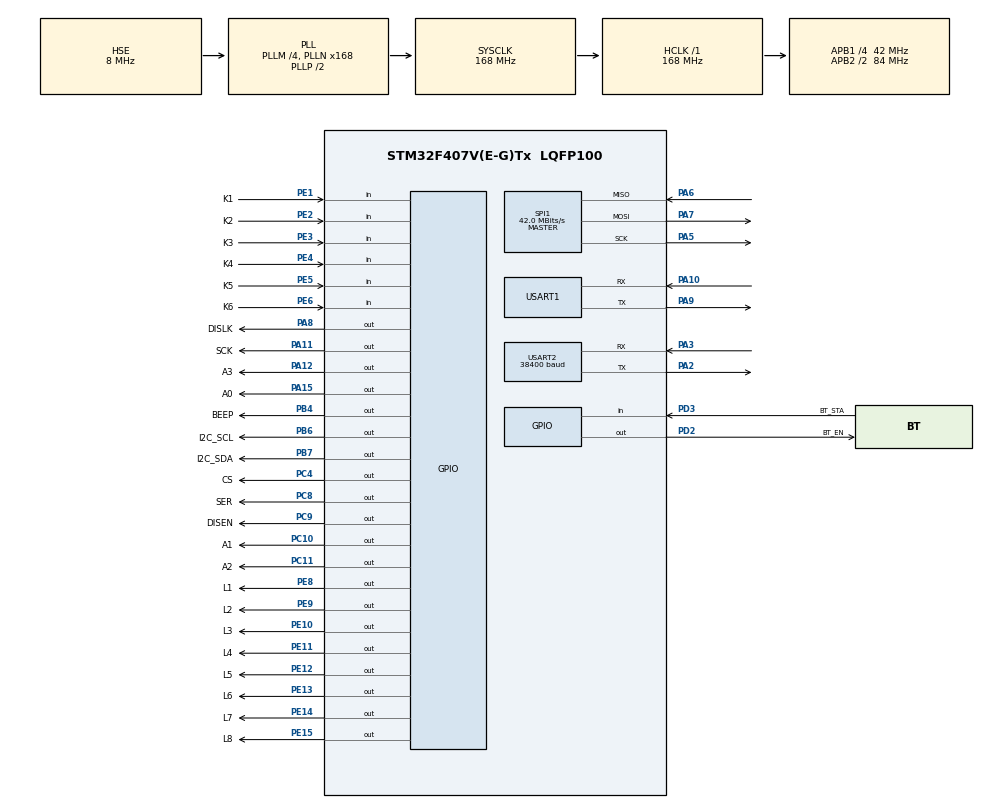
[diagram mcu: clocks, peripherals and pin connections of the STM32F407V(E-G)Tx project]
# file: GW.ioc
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Dma.Request0=USART1_RX
Dma.Request1=USART2_RX
Dma.Request2=USART2_TX
Dma.USART1_RX.0.Direction=DMA_PERIPH_TO_MEMORY
Dma.USART1_RX.0.FIFOMode=DMA_FIFOMODE_DISABLE
Dma.USART1_RX.0.Instance=DMA2_Stream2
Dma.USART1_RX.0.MemDataAlignment=DMA_MDATAALIGN_BYTE
Dma.USART1_RX.0.MemInc=DMA_MINC_ENABLE
Dma.USART1_RX.0.Mode=DMA_NORMAL
Dma.USART1_RX.0.PeriphDataAlignment=DMA_PDATAALIGN_BYTE
Dma.USART1_RX.0.PeriphInc=DMA_PINC_DISABLE
Dma.USART1_RX.0.Priority=DMA_PRIORITY_LOW
Dma.USART2_RX.1.Direction=DMA_PERIPH_TO_MEMORY
Dma.USART2_RX.1.FIFOMode=DMA_FIFOMODE_DISABLE
Dma.USART2_RX.1.Instance=DMA1_Stream5
Dma.USART2_RX.1.MemDataAlignment=DMA_MDATAALIGN_BYTE
Dma.USART2_RX.1.MemInc=DMA_MINC_ENABLE
Dma.USART2_RX.1.Mode=DMA_NORMAL
Dma.USART2_RX.1.PeriphDataAlignment=DMA_PDATAALIGN_BYTE
Dma.USART2_RX.1.PeriphInc=DMA_PINC_DISABLE
Dma.USART2_RX.1.Priority=DMA_PRIORITY_LOW
Dma.USART2_TX.2.Direction=DMA_MEMORY_TO_PERIPH
Dma.USART2_TX.2.FIFOMode=DMA_FIFOMODE_DISABLE
Dma.USART2_TX.2.Instance=DMA1_Stream6
Dma.USART2_TX.2.MemDataAlignment=DMA_MDATAALIGN_BYTE
Dma.USART2_TX.2.MemInc=DMA_MINC_ENABLE
Dma.USART2_TX.2.Mode=DMA_NORMAL
Dma.USART2_TX.2.PeriphDataAlignment=DMA_PDATAALIGN_BYTE
Dma.USART2_TX.2.PeriphInc=DMA_PINC_DISABLE
Dma.USART2_TX.2.Priority=DMA_PRIORITY_LOW
FREERTOS.Queues01=QueueUart2,8,512,1,Dynamic,NULL,NULL;QueueUart1,8,512,1,Dynamic,NULL,NULL
FREERTOS.Tasks01=Task_LED,24,128,StartTaskLed,Default,NULL,Dynamic,NULL,NULL;Task_Usart,8,512,StartTaskUsart,Default,NULL,Dynamic,NULL,NULL;Task_Key,8,128,StartTaskKey,Default,NULL,Dynamic,NULL,NULL;Task_Seg,8,128,StartTaskSeg,Default,NULL,Dynamic,NULL,NULL;Task_Main,8,128,StartTaskMain,Default,NULL,Dynamic,NULL,NULL;Task_MPU6050,8,128,StartTaskMPU6050,Default,NULL,Dynamic,NULL,NULL
FREERTOS.configTOTAL_HEAP_SIZE=32768
Mcu.Family=STM32F4
Mcu.Name=STM32F407V(E-G)Tx
Mcu.Package=LQFP100
NVIC.DMA1_Stream5_IRQn=true\:5\:0\:false\:false\:true\:true\:false\:true
NVIC.DMA1_Stream6_IRQn=true\:5\:0\:false\:false\:true\:true\:false\:true
NVIC.DMA2_Stream2_IRQn=true\:5\:0\:false\:false\:true\:true\:false\:true
NVIC.PriorityGroup=NVIC_PRIORITYGROUP_4
NVIC.TIM1_BRK_TIM9_IRQn=true\:0\:0\:false\:false\:true\:false\:false\:true
NVIC.TIM4_IRQn=true\:5\:0\:false\:false\:true\:true\:true\:true
NVIC.TimeBase=TIM1_BRK_TIM9_IRQn
NVIC.TimeBaseIP=TIM9
NVIC.USART1_IRQn=true\:5\:0\:false\:false\:true\:true\:true\:true
NVIC.USART2_IRQn=true\:5\:0\:false\:false\:true\:true\:true\:true
PA10.Mode=Asynchronous
PA10.Signal=USART1_RX
PA11.GPIO_Label=SCK
PA11.Signal=GPIO_Output
PA12.GPIO_Label=A3
PA12.Signal=GPIO_Output
PA13.Mode=Serial_Wire
PA13.Signal=SYS_JTMS-SWDIO
PA14.Mode=Serial_Wire
PA14.Signal=SYS_JTCK-SWCLK
PA15.GPIO_Label=A0
PA15.Signal=GPIO_Output
PA2.Mode=Asynchronous
PA2.Signal=USART2_TX
PA3.Mode=Asynchronous
PA3.Signal=USART2_RX
PA5.Mode=Full_Duplex_Master
PA5.Signal=SPI1_SCK
PA6.Mode=Full_Duplex_Master
PA6.Signal=SPI1_MISO
PA7.Mode=Full_Duplex_Master
PA7.Signal=SPI1_MOSI
PA8.GPIO_Label=DISLK
PA8.Signal=GPIO_Output
PA9.Mode=Asynchronous
PA9.Signal=USART1_TX
PB4.GPIO_Label=BEEP
PB4.Signal=GPIO_Output
PB6.GPIO_Label=I2C_SCL
PB6.GPIO_ModeDefaultOutputPP=GPIO_MODE_OUTPUT_OD
PB6.GPIO_PuPd=GPIO_NOPULL
PB6.Signal=GPIO_Output
PB7.GPIO_Label=I2C_SDA
PB7.GPIO_ModeDefaultOutputPP=GPIO_MODE_OUTPUT_OD
PB7.GPIO_PuPd=GPIO_NOPULL
PB7.Signal=GPIO_Output
PC10.GPIO_Label=A1
PC10.Signal=GPIO_Output
PC11.GPIO_Label=A2
PC11.Signal=GPIO_Output
PC14-OSC32_IN.Mode=LSE-External-Oscillator
PC14-OSC32_IN.Signal=RCC_OSC32_IN
PC15-OSC32_OUT.Mode=LSE-External-Oscillator
PC15-OSC32_OUT.Signal=RCC_OSC32_OUT
PC4.GPIO_Label=CS
PC4.Signal=GPIO_Output
PC8.GPIO_Label=SER
PC8.Signal=GPIO_Output
PC9.GPIO_Label=DISEN
PC9.Signal=GPIO_Output
PD2.GPIO_Label=BT_EN
PD2.Signal=GPIO_Output
PD3.GPIO_Label=BT_STA
PD3.Signal=GPIO_Input
PE1.GPIO_Label=K1
PE1.GPIO_Mode=GPIO_MODE_INPUT
PE1.GPIO_PuPd=GPIO_PULLUP
PE1.Signal=GPIO_Input
PE10.GPIO_Label=L3
PE10.GPIO_ModeDefaultOutputPP=GPIO_MODE_OUTPUT_PP
PE10.GPIO_PuPd=GPIO_NOPULL
PE10.GPIO_Speed=GPIO_SPEED_FREQ_LOW
PE10.PinState=GPIO_PIN_SET
PE10.Signal=GPIO_Output
PE11.GPIO_Label=L4
PE11.GPIO_ModeDefaultOutputPP=GPIO_MODE_OUTPUT_PP
PE11.GPIO_PuPd=GPIO_NOPULL
PE11.GPIO_Speed=GPIO_SPEED_FREQ_LOW
PE11.PinState=GPIO_PIN_SET
PE11.Signal=GPIO_Output
PE12.GPIO_Label=L5
PE12.GPIO_ModeDefaultOutputPP=GPIO_MODE_OUTPUT_PP
PE12.GPIO_PuPd=GPIO_NOPULL
PE12.GPIO_Speed=GPIO_SPEED_FREQ_LOW
PE12.PinState=GPIO_PIN_SET
PE12.Signal=GPIO_Output
PE13.GPIO_Label=L6
PE13.GPIO_ModeDefaultOutputPP=GPIO_MODE_OUTPUT_PP
PE13.GPIO_PuPd=GPIO_NOPULL
PE13.GPIO_Speed=GPIO_SPEED_FREQ_LOW
PE13.PinState=GPIO_PIN_SET
PE13.Signal=GPIO_Output
PE14.GPIO_Label=L7
PE14.GPIO_ModeDefaultOutputPP=GPIO_MODE_OUTPUT_PP
PE14.GPIO_PuPd=GPIO_NOPULL
PE14.GPIO_Speed=GPIO_SPEED_FREQ_LOW
PE14.PinState=GPIO_PIN_SET
PE14.Signal=GPIO_Output
PE15.GPIO_Label=L8
PE15.GPIO_ModeDefaultOutputPP=GPIO_MODE_OUTPUT_PP
PE15.GPIO_PuPd=GPIO_NOPULL
PE15.GPIO_Speed=GPIO_SPEED_FREQ_LOW
PE15.PinState=GPIO_PIN_SET
PE15.Signal=GPIO_Output
PE2.GPIO_Label=K2
PE2.GPIO_Mode=GPIO_MODE_INPUT
PE2.GPIO_PuPd=GPIO_PULLUP
PE2.Signal=GPIO_Input
PE3.GPIO_Label=K3
PE3.GPIO_Mode=GPIO_MODE_INPUT
PE3.GPIO_PuPd=GPIO_PULLUP
PE3.Signal=GPIO_Input
PE4.GPIO_Label=K4
PE4.GPIO_Mode=GPIO_MODE_INPUT
PE4.GPIO_PuPd=GPIO_PULLUP
PE4.Signal=GPIO_Input
PE5.GPIO_Label=K5
PE5.GPIO_Mode=GPIO_MODE_INPUT
PE5.GPIO_PuPd=GPIO_PULLDOWN
PE5.Signal=GPIO_Input
PE6.GPIO_Label=K6
PE6.GPIO_Mode=GPIO_MODE_INPUT
PE6.GPIO_PuPd=GPIO_PULLDOWN
PE6.Signal=GPIO_Input
PE8.GPIO_Label=L1
PE8.GPIO_ModeDefaultOutputPP=GPIO_MODE_OUTPUT_PP
PE8.GPIO_PuPd=GPIO_NOPULL
PE8.GPIO_Speed=GPIO_SPEED_FREQ_LOW
PE8.PinState=GPIO_PIN_SET
PE8.Signal=GPIO_Output
PE9.GPIO_Label=L2
PE9.GPIO_ModeDefaultOutputPP=GPIO_MODE_OUTPUT_PP
PE9.GPIO_PuPd=GPIO_NOPULL
PE9.GPIO_Speed=GPIO_SPEED_FREQ_LOW
PE9.PinState=GPIO_PIN_SET
PE9.Signal=GPIO_Output
PH0-OSC_IN.Mode=HSE-External-Oscillator
PH0-OSC_IN.Signal=RCC_OSC_IN
PH1-OSC_OUT.Mode=HSE-External-Oscillator
PH1-OSC_OUT.Signal=RCC_OSC_OUT
ProjectManager.HeapSize=0x4000
ProjectManager.StackSize=0x4000
ProjectManager.TargetToolchain=MDK-ARM V5.27
RCC.48MHZClocksFreq_Value=84000000
RCC.AHBFreq_Value=168000000
RCC.APB1CLKDivider=RCC_HCLK_DIV4
RCC.APB1Freq_Value=42000000
RCC.APB1TimFreq_Value=84000000
RCC.APB2CLKDivider=RCC_HCLK_DIV2
RCC.APB2Freq_Value=84000000
RCC.APB2TimFreq_Value=168000000
RCC.CortexFreq_Value=168000000
RCC.HCLKFreq_Value=168000000
RCC.HSE_VALUE=8000000
RCC.HSI_VALUE=16000000
RCC.PLLM=4
RCC.PLLN=168
RCC.PLLSourceVirtual=RCC_PLLSOURCE_HSE
RCC.RCC_RTC_Clock_Source=RCC_RTCCLKSOURCE_LSE
RCC.RCC_RTC_Clock_SourceVirtual=RCC_RTCCLKSOURCE_LSE
RCC.SYSCLKFreq_VALUE=168000000
RCC.SYSCLKSource=RCC_SYSCLKSOURCE_PLLCLK
RCC.VCOOutputFreq_Value=336000000
RTC.Alarm=RTC_ALARM_A
SPI1.CalculateBaudRate=42.0 MBits/s
SPI1.Direction=SPI_DIRECTION_2LINES
SPI1.Mode=SPI_MODE_MASTER
SPI1.VirtualType=VM_MASTER
TIM4.AutoReloadPreload=TIM_AUTORELOAD_PRELOAD_ENABLE
TIM4.Period=10000
TIM4.Prescaler=84-1
USART1.VirtualMode=VM_ASYNC
USART2.BaudRate=38400
USART2.VirtualMode=VM_ASYNC
VP_FREERTOS_VS_CMSIS_V2.Mode=CMSIS_V2
VP_RTC_VS_RTC_Activate.Mode=RTC_Enabled
VP_RTC_VS_RTC_Alarm_A_Intern.Mode=Alarm A
VP_RTC_VS_RTC_Calendar.Mode=RTC_Calendar
VP_RTC_VS_RTC_WakeUp_intern.Mode=WakeUp
VP_SYS_VS_tim9.Mode=TIM9
VP_TIM4_VS_ClockSourceINT.Mode=Internal
board=custom

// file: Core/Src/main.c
/* USER CODE BEGIN Header */
/**
  ******************************************************************************
  * @file           : main.c
  * @brief          : Main program body
  ******************************************************************************
  * @attention
  *
  * <h2><center>&copy; Copyright (c) 2021 STMicroelectronics.
  * All rights reserved.</center></h2>
  *
  * This software component is licensed by ST under Ultimate Liberty license
  * SLA0044, the "License"; You may not use this file except in compliance with
  * the License. You may obtain a copy of the License at:
  *                             www.st.com/SLA0044
  *
  ******************************************************************************
  */
/* USER CODE END Header */
#include "main.h"
#include "cmsis_os.h"
#include "dma.h"
#include "rtc.h"
#include "spi.h"
#include "tim.h"
#include "usart.h"
#include "gpio.h"

/* USER CODE BEGIN Includes */
#include <stdio.h>
#include <stdlib.h>
#include <string.h>
#include "w25qxx.h"
/* USER CODE END Includes */

/* USER CODE BEGIN PV */

uint8_t count_10ms = 0;
uint8_t up_flag = 0;
/* USER CODE END PV */

void SystemClock_Config(void);
void MX_FREERTOS_Init(void);

/* USER CODE BEGIN 0 */
void TestW25Q128(void)
{
	uint8_t dat[4096] = "1234567890-1234567890-1234567890-1234567890-1234567890-\0";
	uint8_t read_buf[4096] = {0};
	uint16_t i;
	uint16_t *pDat = (uint16_t *)dat;
	for(i=0;i<sizeof(dat)/2;++i)
	{
		pDat[i] = i*i;
	}

	W25QXX_Init();
	uint16_t device_id = W25QXX_ReadID();
	printf("device_id = 0x%04X\n\r",device_id);

	HAL_Delay(500);

	int j=0;
	uint32_t addr = 0;
	for(j=0;j<1;j++)
	{
		addr = 0x1000 * j;
		// 读扇区
		printf("Read data before write\n\r");
		memset(read_buf,0,sizeof(read_buf));
		W25QXX_Read(read_buf,addr,sizeof(read_buf));
		printf("read data if:\n\r");
		for(i=0;i<sizeof(read_buf);++i)
		{
			printf("%02X ",read_buf[i]);
		}
		printf("\n\r");
		HAL_Delay(20);

		//撤除该扇区
		printf("Erase sector %d\n\r",addr / 0x1000);
		W25QXX_Erase_Sector(addr);
		HAL_Delay(20);

		//写数据
		printf("Write data\n\r");
		W25QXX_Write(dat,addr,sizeof(dat));
		HAL_Delay(20);

		//再次读数据
		printf("Read data after write\n\r");
		memset(read_buf,0,sizeof(dat));
		W25QXX_Read(read_buf,addr,sizeof(read_buf));
		printf("read data is:\n\r");
		for(i=0;i<sizeof(read_buf);++i)
		{
			printf("%02X ",read_buf[i]);
		}
		printf("\n\r");
		HAL_Delay(20);

		uint8_t chkok = 1;
		for(i=0;i<sizeof(dat);++i)
		{
			if(dat[i] != read_buf[i])
			{
				chkok = 0;
				break;
			}
		}
		printf("sector %d write %s!\n\r", addr/0x1000,chkok?"ok":"error");
		if(!chkok)
			break;
	}
}
/* USER CODE END 0 */

int main(void)
{

  /* MCU Configuration--------------------------------------------------------*/

  /* Reset of all peripherals, Initializes the Flash interface and the Systick. */
  HAL_Init();

  /* Configure the system clock */
  SystemClock_Config();

  /* Initialize all configured peripherals */
  MX_GPIO_Init();
  MX_DMA_Init();
  MX_USART1_UART_Init();
  MX_SPI1_Init();
  MX_TIM4_Init();
  MX_RTC_Init();
  MX_USART2_UART_Init();
  /* USER CODE BEGIN 2 */
//	HAL_Delay(1000);
//	TestW25Q128();

  /* USER CODE END 2 */

  /* Init scheduler */
  osKernelInitialize();  /* Call init function for freertos objects (in freertos.c) */
  MX_FREERTOS_Init();
  /* Start scheduler */
  osKernelStart();

  /* We should never get here as control is now taken by the scheduler */
  /* Infinite loop */
  while (1)
  {

  }
}

void SystemClock_Config(void)
{
  RCC_OscInitTypeDef RCC_OscInitStruct = {0};
  RCC_ClkInitTypeDef RCC_ClkInitStruct = {0};

  /** Configure the main internal regulator output voltage
  */
  __HAL_RCC_PWR_CLK_ENABLE();
  __HAL_PWR_VOLTAGESCALING_CONFIG(PWR_REGULATOR_VOLTAGE_SCALE1);
  /** Initializes the RCC Oscillators according to the specified parameters
  * in the RCC_OscInitTypeDef structure.
  */
  RCC_OscInitStruct.OscillatorType = RCC_OSCILLATORTYPE_HSE|RCC_OSCILLATORTYPE_LSE;
  RCC_OscInitStruct.HSEState = RCC_HSE_ON;
  RCC_OscInitStruct.LSEState = RCC_LSE_ON;
  RCC_OscInitStruct.PLL.PLLState = RCC_PLL_ON;
  RCC_OscInitStruct.PLL.PLLSource = RCC_PLLSOURCE_HSE;
  RCC_OscInitStruct.PLL.PLLM = 4;
  RCC_OscInitStruct.PLL.PLLN = 168;
  RCC_OscInitStruct.PLL.PLLP = RCC_PLLP_DIV2;
  RCC_OscInitStruct.PLL.PLLQ = 4;
  if (HAL_RCC_OscConfig(&RCC_OscInitStruct) != HAL_OK)
  {
    Error_Handler();
  }
  /** Initializes the CPU, AHB and APB buses clocks
  */
  RCC_ClkInitStruct.ClockType = RCC_CLOCKTYPE_HCLK|RCC_CLOCKTYPE_SYSCLK
                              |RCC_CLOCKTYPE_PCLK1|RCC_CLOCKTYPE_PCLK2;
  RCC_ClkInitStruct.SYSCLKSource = RCC_SYSCLKSOURCE_PLLCLK;
  RCC_ClkInitStruct.AHBCLKDivider = RCC_SYSCLK_DIV1;
  RCC_ClkInitStruct.APB1CLKDivider = RCC_HCLK_DIV4;
  RCC_ClkInitStruct.APB2CLKDivider = RCC_HCLK_DIV2;

  if (HAL_RCC_ClockConfig(&RCC_ClkInitStruct, FLASH_LATENCY_5) != HAL_OK)
  {
    Error_Handler();
  }
}

void HAL_TIM_PeriodElapsedCallback(TIM_HandleTypeDef *htim)
{
  if (htim->Instance == TIM9) {
    HAL_IncTick();
  }
  /* USER CODE BEGIN Callback 1 */
	if(htim->Instance == TIM4)
	{
		count_10ms++;
		if(count_10ms == 100)
		{
			up_flag = 1;
			count_10ms = 0;
		}
		else	up_flag = 0;
	}
  /* USER CODE END Callback 1 */
}

void Error_Handler(void)
{
  __disable_irq();
  while (1)
  {
  }
}

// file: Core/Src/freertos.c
/* USER CODE BEGIN Header */
/**
  ******************************************************************************
  * File Name          : freertos.c
  * Description        : Code for freertos applications
  ******************************************************************************
  * @attention
  *
  * <h2><center>&copy; Copyright (c) 2021 STMicroelectronics.
  * All rights reserved.</center></h2>
  *
  * This software component is licensed by ST under Ultimate Liberty license
  * SLA0044, the "License"; You may not use this file except in compliance with
  * the License. You may obtain a copy of the License at:
  *                             www.st.com/SLA0044
  *
  ******************************************************************************
  */
/* USER CODE END Header */

#include "FreeRTOS.h"
#include "task.h"
#include "main.h"
#include "cmsis_os.h"

/* USER CODE BEGIN Includes */
#include "gpio.h"
#include "usart.h "
#include "tim.h"
#include "rtc.h"
#include "w25qxx.h"

#include "stdio.h "
#include "string.h"

#include "MPU6050.h"
#include "math.h"
/* USER CODE END Includes */

/* USER CODE BEGIN Variables */
uint8_t led_run = 1;
uint8_t led_sp = 5;
uint8_t seg[4] = {0};

#define MAX_RECV_LEN 128
uint8_t rx1_buff[MAX_RECV_LEN] = {0};
uint8_t *pBuf;
uint8_t line_flag = 0;
uint32_t recv_tick = 0;

extern uint8_t count_10ms;
extern uint8_t up_flag;

uint8_t start_count_flag = 0;
uint8_t run_flag = 0xFF;
uint8_t show_flag = 0;
uint8_t save_flag = 0;
uint8_t read_flag = 0;
uint8_t read_ad_flag = 0;
uint8_t BT_ok = 0;
uint8_t ad_rec_flag = 0;

short count_sec = 0;
short count_min = 0;
short g_number = 0;
short ad_number = 0;

#define MX_SAVE_DATA	100*10+2 + 500 + 6*5400   //最多采集6分钟，不然超出flash范围
short flash_data[MX_SAVE_DATA] = {0};
short ad_data[6] = {0};
short Amax[720] = {-1};

short max_data_gx=0;
short max_data_gy=0;
short max_data_gz=0;
short max_data[100] = {0};
short Amax_data_x = 0;
short Amax_data_y = 0;
short Amax_data_z = 0;
short time[100] = {0};

uint8_t rx1_buf[128];  // 串口1接收缓冲
uint8_t rx2_buf[512];  // 串口2接收缓冲

/* USER CODE END Variables */
/* Definitions for Task_LED */
osThreadId_t Task_LEDHandle;
const osThreadAttr_t Task_LED_attributes = {
  .name = "Task_LED",
  .stack_size = 128 * 4,
  .priority = (osPriority_t) osPriorityNormal,
};
/* Definitions for Task_Usart */
osThreadId_t Task_UsartHandle;
const osThreadAttr_t Task_Usart_attributes = {
  .name = "Task_Usart",
  .stack_size = 512 * 4,
  .priority = (osPriority_t) osPriorityLow,
};
/* Definitions for Task_Key */
osThreadId_t Task_KeyHandle;
const osThreadAttr_t Task_Key_attributes = {
  .name = "Task_Key",
  .stack_size = 128 * 4,
  .priority = (osPriority_t) osPriorityLow,
};
/* Definitions for Task_Seg */
osThreadId_t Task_SegHandle;
const osThreadAttr_t Task_Seg_attributes = {
  .name = "Task_Seg",
  .stack_size = 128 * 4,
  .priority = (osPriority_t) osPriorityLow,
};
/* Definitions for Task_Main */
osThreadId_t Task_MainHandle;
const osThreadAttr_t Task_Main_attributes = {
  .name = "Task_Main",
  .stack_size = 128 * 4,
  .priority = (osPriority_t) osPriorityLow,
};
/* Definitions for Task_MPU6050 */
osThreadId_t Task_MPU6050Handle;
const osThreadAttr_t Task_MPU6050_attributes = {
  .name = "Task_MPU6050",
  .stack_size = 128 * 4,
  .priority = (osPriority_t) osPriorityLow,
};
/* Definitions for QueueUart2 */
osMessageQueueId_t QueueUart2Handle;
const osMessageQueueAttr_t QueueUart2_attributes = {
  .name = "QueueUart2"
};
/* Definitions for QueueUart1 */
osMessageQueueId_t QueueUart1Handle;
const osMessageQueueAttr_t QueueUart1_attributes = {
  .name = "QueueUart1"
};

void StartTaskLed(void *argument);
void StartTaskUsart(void *argument);
void StartTaskKey(void *argument);
void StartTaskSeg(void *argument);
void StartTaskMain(void *argument);
void StartTaskMPU6050(void *argument);

void SendATCmd(char *cmd, int waitms) { // 发送AT指令给串口2
	if (NULL != cmd){
		HAL_UART_Transmit_DMA(&huart2, (uint8_t *)cmd, strlen(cmd));
		osDelay(waitms);  // 延时等待HC05模块应答时间
	}
}

void SendBTStr(char *str) { // 发送字符串给串口2
	if (NULL != str)
		HAL_UART_Transmit_DMA(&huart2, (uint8_t *)str, strlen(str));
}

// 发送字符串给串口2并显示在串口2
void Trans_Records2BT(short flash_dat[11])
{
		char num[10] = {0};
		char year[10] = {0};
		char month[10] = {0};
		char dat[10] = {0};
		char hour[10] = {0};
		char min[10] = {0};
		char sec[10] = {0};
		char c_min[10] = {0};
		char c_sec[10] = {0};
		char c_ms[10] = {0};

		num[0] = flash_dat[0]/10 + '0';	num[1] = flash_dat[0]%10 + '0';num[2] = '.';	num[3] = ' ';
		year[0] = flash_dat[1]/10 + '0';	year[1] = flash_dat[1]%10 + '0';	year[2] = flash_dat[2]/10 + '0';	year[3] = flash_dat[2]%10 + '0';	year[4] = '-';
		month[0] = flash_dat[3]/10 + '0';	month[1] = flash_dat[3]%10 + '0';	month[2] = '-';
		dat[0] = flash_dat[4]/10 + '0';	dat[1] = flash_dat[4]%10 + '0';	dat[2] = ' ';
		hour[0] = flash_dat[5]/10 + '0';	hour[1] = flash_dat[5]%10 + '0';	hour[2] = ':';
		min[0] = flash_dat[6]/10 + '0';	min[1] = flash_dat[6]%10 + '0';	min[2] = ':';
		sec[0] = flash_dat[7]/10 + '0';	sec[1] = flash_dat[7]%10 + '0';	sec[2] = ' ';	sec[3] = ' ';
		c_min[0] = flash_dat[8]%10 + '0'; c_min[1] = 'm' ; c_min[2] = 'i';  c_min[3] = 'n';
		c_sec[0] = flash_dat[9]/10 + '0'; c_sec[1] = flash_dat[9]%10 + '0'; c_sec[2] = 's'; c_sec[3] = 'e'; c_sec[4] = 'c';
		c_ms[0] = flash_dat[10]/10 + '0'; c_ms[1] = flash_dat[10]%10 + '0';

		osDelay(20);	SendBTStr(num);
		osDelay(20);	SendBTStr(year);
		osDelay(20);	SendBTStr(month);
		osDelay(20);	SendBTStr(dat);
		osDelay(20);	SendBTStr(hour);
		osDelay(20);	SendBTStr(min);
		osDelay(20);	SendBTStr(sec);
		osDelay(20);	SendBTStr(c_min);
		osDelay(20);	SendBTStr(c_sec);
		osDelay(20);	SendBTStr(c_ms);
		osDelay(20);	SendBTStr("\n");
}

void Trans_adDATA2BT(short flash_dat[6])
{
	char Ax[10] = {0};
	char Ay[10] = {0};
	char Az[10] = {0};
	char gx[10] = {0};
	char gy[10] = {0};
	char gz[10] = {0};

	Ax[0] = (flash_dat[0] > 0) ? '+' : '-';	if(Ax[0] == '+')	{}	else if(Ax[0] == '-')	flash_dat[0] = 0 - flash_dat[0];
	Ax[1] =	(flash_dat[0]/1000  + '0'); Ax[2] =	((flash_dat[0]%1000)/100  + '0'); Ax[3] =	((flash_dat[0]%100)/10  + '0'); Ax[4] =	(flash_dat[0]%10  + '0');

	Ay[0] = (flash_dat[1] > 0) ? '+' : '-'; if(Ay[0] == '+')	{}	else if(Ay[0] == '-')	flash_dat[1] = 0 - flash_dat[1];
	Ay[1] =	(flash_dat[1]/1000  + '0'); Ay[2] =	(flash_dat[1]%1000/100  + '0'); Ay[3] =	(flash_dat[1]%100/10  + '0'); Ay[4] =	(flash_dat[1]%10  + '0');

	Az[0] = (flash_dat[2] > 0) ? '+' : '-'; if(Az[0] == '+')	{}	else if(Az[0] == '-')	flash_dat[2] = 0 - flash_dat[2];
	Az[1] =	(flash_dat[2]/1000  + '0'); Az[2] =	(flash_dat[2]%1000/100  + '0'); Az[3] =	(flash_dat[2]%100/10  + '0'); Az[4] =	(flash_dat[2]%10  + '0');

	gx[0] = (flash_dat[3] > 0) ? '+' : '-';	if(gx[0] == '+')	{}	else if(gx[0] == '-')	flash_dat[3] = 0 - flash_dat[3];
	gx[1] =	(flash_dat[3]/1000  + '0'); gx[2] =	(flash_dat[3]%1000/100  + '0'); gx[3] =	(flash_dat[3]%100/10  + '0'); gx[4] =	(flash_dat[3]%10  + '0');

	gy[0] = (flash_dat[4] > 0) ? '+' : '-';	if(gy[0] == '+')	{}	else if(gy[0] == '-')	flash_dat[4] = 0 - flash_dat[4];
	gy[1] =	(flash_dat[4]/1000  + '0'); gy[2] =	(flash_dat[4]%1000/100  + '0'); gy[3] =	(flash_dat[4]%100/10  + '0'); gy[4] =	(flash_dat[4]%10  + '0');

	gz[0] = (flash_dat[5] > 0) ? '+' : '-';	if(gz[0] == '+')	{}	else if(gz[0] == '-')	flash_dat[5] = 0 - flash_dat[5];
	gz[1] =	(flash_dat[5]/1000  + '0'); gz[2] =	(flash_dat[5]%1000/100  + '0'); gz[3] =	(flash_dat[5]%100/10  + '0'); gz[4] =	(flash_dat[5]%10  + '0');

	osDelay(20);	SendBTStr("wx:");
	osDelay(20);	SendBTStr(Ax);
	osDelay(20);	SendBTStr("wy:");
	osDelay(20);	SendBTStr(Ay);
	osDelay(20);	SendBTStr("wz:");
	osDelay(20);	SendBTStr(Az);
	osDelay(20);	SendBTStr("    d/s");
	osDelay(20);	SendBTStr("\n");
	osDelay(20);	SendBTStr("ax:");
	osDelay(20);	SendBTStr(gx);
	osDelay(20);	SendBTStr("ay");
	osDelay(20);	SendBTStr(gy);
	osDelay(20);	SendBTStr("az");
	osDelay(20);	SendBTStr(gz);
	osDelay(20);	SendBTStr("    mg");
	osDelay(20);	SendBTStr("\n\n");

}

//返回平均最大加速度
short maxA(void)
{
	short max = 0;
	for(int i = 0; Amax[i] != -1; i++)
		if(Amax[i] > max)
			max = Amax[i];
	return max;
}

//返回单个最大加速度
short maxA_single(short x, short y, short z)
{
	short min0;
	x = x > 0 ? x : 0 - x;
	y = y > 0 ? y : 0 - y;
	z = z > 0 ? z : 0 - z;
	min0 = (x < y ? x : y) < z ? (x < y ? x : y) : z;
	if(x == min0)
		return (short)(pow((double)(y * y + z * z), 0.5));
	else if(y == min0)
		return (short)(pow((double)(x * x + z * z), 0.5));
	else
		return (short)(pow((double)(x * x + y * y), 0.5));
}
void MX_FREERTOS_Init(void); /* (MISRA C 2004 rule 8.1) */

void MX_FREERTOS_Init(void) {

  /* Create the queue(s) */
  /* creation of QueueUart2 */
  QueueUart2Handle = osMessageQueueNew (8, 512, &QueueUart2_attributes);

  /* creation of QueueUart1 */
  QueueUart1Handle = osMessageQueueNew (8, 512, &QueueUart1_attributes);

  /* Create the thread(s) */
  /* creation of Task_LED */
  Task_LEDHandle = osThreadNew(StartTaskLed, NULL, &Task_LED_attributes);

  /* creation of Task_Usart */
  Task_UsartHandle = osThreadNew(StartTaskUsart, NULL, &Task_Usart_attributes);

  /* creation of Task_Key */
  Task_KeyHandle = osThreadNew(StartTaskKey, NULL, &Task_Key_attributes);

  /* creation of Task_Seg */
  Task_SegHandle = osThreadNew(StartTaskSeg, NULL, &Task_Seg_attributes);

  /* creation of Task_Main */
  Task_MainHandle = osThreadNew(StartTaskMain, NULL, &Task_Main_attributes);

  /* creation of Task_MPU6050 */
  Task_MPU6050Handle = osThreadNew(StartTaskMPU6050, NULL, &Task_MPU6050_attributes);

}

void StartTaskLed(void *argument)
{
  /* USER CODE BEGIN StartTaskLed */
  /* Infinite loop */
	 osDelay(4000);
	 printf("进入AT模式！\n");
	 HAL_GPIO_WritePin(BT_EN_GPIO_Port, BT_EN_Pin, GPIO_PIN_SET);
	 osDelay(500);
	 printf("测试HC05模块是否存在...\n");
	 SendATCmd("AT\r\n", 500);
	 printf("读取HC05模块名称...\n");
	 SendATCmd("AT+NAME?\r\n", 500);
	 printf("读取HC05模块蓝牙地址...\n");
	 SendATCmd("AT+ADDR?\r\n", 500);
//	printf("设置HC05模块为主机工作模式\n");
//	SendATCmd("AT+ROLE=1\r\n", 500);
	 printf("设置HC05模块为从机工作模式\n");
	 SendATCmd("AT+ROLE=0\r\n", 500);
	 printf("查询HC05模块工作模式...\n");
	 SendATCmd("AT+ROLE?\r\n", 500);
	 printf("设置HC05模块串口参数...\n");
	 SendATCmd("AT+UART=38400,0,0\r\n", 500);
	 printf("查询HC05模块串口参数...\n");
	 SendATCmd("AT+UART?\r\n", 500);
	 printf("退出AT模式！\n");
	 HAL_GPIO_WritePin(BT_EN_GPIO_Port, BT_EN_Pin, GPIO_PIN_RESET);
	 printf("重启模块！\n");
	 SendATCmd("AT+RESET\r\n", 500);
	 osDelay(100);	BT_ok = 1;
	 osDelay(100);	SendBTStr("AT SET OK!\n");
	 osDelay(100);	SendBTStr("Please Input:READ RECORD to read records!\n");
	 osDelay(100);	SendBTStr("Please Input:READ AD DATA to read ad data!\n");
	 osDelay(100);	SendBTStr("Please Input:CLEAR ALL DATA to clear all data!\n");

	uint8_t led_sta = 0x01;
	SetLeds(led_sta);
  for(;;)
  {
//		SendBTStr("HELLO HC05\r\n");  // 每隔1秒发送一条字符串
//		osDelay(1000);
		if(led_run)
		{
			if(led_sta < 0x80)
				led_sta <<= 1;
			else
				led_sta = 0x01;
			SetLeds(led_sta);
		}
    osDelay(1000);
  }
  /* USER CODE END StartTaskLed */
}

void StartTaskUsart(void *argument)
{
  /* USER CODE BEGIN StartTaskUsart */
  /* Infinite loop */

	HAL_UARTEx_ReceiveToIdle_DMA(&huart1, rx1_buf, sizeof(rx1_buf));
  HAL_UARTEx_ReceiveToIdle_DMA(&huart2, rx2_buf, sizeof(rx2_buf));

  uint8_t dat[512];  // 临时数组
//	pBuf = rx1_buff;
	HAL_UART_Receive_IT(&huart1, pBuf, 1);
  for(;;)
  {
   // 串口1接收数据处理
    if (osMessageQueueGet(QueueUart1Handle, dat, NULL, 10) == osOK) {
//      printf("UART1: %s \r\n", dat);  // 串口1打印回显
			char *pb = (char *)dat;

			if(strstr(pb, "READ RECORD") == pb)
			{
				read_flag = 1;
			}
			else if(strstr(pb, "READ AD DATA") == pb)
			{
				read_ad_flag = 1;
			}

			else if(strstr(pb, "CHANGE DATA") == pb)
			{
				read_ad_flag = 1;
				ad_rec_flag = 1;
			}
			else if(strstr(pb, "READ A MAX") == pb)
			{
				W25QXX_Read((uint8_t *)flash_data,0,sizeof(flash_data));
				osDelay(100);
				Amax_data_x = flash_data[1200];
				Amax_data_y = flash_data[1201];
				Amax_data_z = flash_data[1202];
				printf("a(mg)x:%d y:%d z:%d\r\n",  Amax_data_x, Amax_data_y, Amax_data_z);
				osDelay(100);

			}

			else if(strstr(pb, "READ TIME ALL") == pb)
			{
				W25QXX_Read((uint8_t *)flash_data,0,sizeof(flash_data));
				osDelay(200);
				for(int i=0;i<flash_data[1000];i++){
					time[i] = flash_data[7+10*(i)] * 600 + flash_data[8+10*(i)] * 10 + (5 + flash_data[9+10*(i)])/10;
					osDelay(100);
					printf("%d: time(100ms):%d \r\n", i, time[i]);
					osDelay(100);
				}
			}

			else if(strstr(pb, "CLEAR ALL DATA") == pb)
			{
				printf("CLEAR ALL DATA Finshed!\r\n");
				SendBTStr("CLEAR ALL DATA Finshed!\n");
				g_number = 0;
				memset(flash_data,0,sizeof(flash_data));
				osDelay(200);
				W25QXX_Write((uint8_t *)flash_data,0,sizeof(flash_data));
			}

			else
			{
				printf("Wrong Command!\r\n Please Input: READ AD DATA or READ RECORD\r\n");
			}

//      HAL_UART_Transmit_DMA(&huart2, dat, strlen((char *)dat));	// 转发串口2
	   }

    // 串口2接收数据处理
	   if (osMessageQueueGet(QueueUart2Handle, dat, NULL, 10) == osOK)
		 {
//				printf("UART2: %s", dat);	// 串口1打印显示

				char *pb = (char *)dat;

				if(strstr(pb, "READ RECORD") == pb)
				{
					read_flag = 1;
				}
				else if(strstr(pb, "READ AD DATA") == pb)
				{
					read_ad_flag = 1;
				}

				else if(strstr(pb, "CLEAR ALL DATA") == pb)
				{
					printf("CLEAR ALL DATA Finshed!\r\n");
					SendBTStr("CLEAR ALL DATA Finshed!\n");
					g_number = 0;
					memset(flash_data,0,sizeof(flash_data));
					osDelay(200);
					W25QXX_Write((uint8_t *)flash_data,0,sizeof(flash_data));
				}

				else
				{
					if(BT_ok)
						printf("Wrong Command!\r\n Please Input: READ AD DATA or READ RECORD\r\n");
				}

		 }

	   osDelay(1);

//		if(line_flag)
//		{

//			char *pb = (char *)rx1_buff;
//			if(strstr(pb, "READ RECORD") == pb)
//			{
//				read_flag = 1;
//			}

//			else if(strstr(pb, "READ AD DATA") == pb)
//			{
//				read_ad_flag = 1;
//			}
//
//			else if(strstr(pb, "CLEAR ALL DATA") == pb)
//			{
//				printf("CLEAR ALL DATA Finshed!\r\n");
//				g_number = 0;
//				memset(flash_data,0,sizeof(flash_data));
//				osDelay(200);
//				W25QXX_Write((uint8_t *)flash_data,0,sizeof(flash_data));
//			}
//
//			else
//			{
//				printf("Wrong Command!\r\n Please Input: READ AD DATA or READ RECORD\r\n");
//			}
//
//			line_flag = 0;
//
//		}
//    osDelay(1);
  }
  /* USER CODE END StartTaskUsart */
}

void StartTaskKey(void *argument)
{
  /* USER CODE BEGIN StartTaskKey */
	uint8_t key;
	W25QXX_Read((uint8_t *)flash_data,0,sizeof(flash_data));
	g_number = flash_data[1000];
  /* Infinite loop */

  for(;;)
  {
		key = KeyScan();
		switch (key)
		{
			case KEY1:
				read_flag = 1;

				break;
			case KEY2:
				show_flag = 1;

				break;
			case KEY3:
				show_flag = 0;

				break;
			case KEY4:
				read_ad_flag = 1;
				break;
			case KEY5:
				printf("开始计时和采集...\r\n");
				ad_number = 0;
				start_count_flag = 1;
				HAL_TIM_Base_Start_IT(&htim4);
				count_10ms = 0;
				count_sec = 0;
				count_min = 0;
				max_data_gx = 0 ;max_data_gy = 0 ;max_data_gz = 0 ;
				break;
			case KEY6:
//				run_flag = !run_flag;
//				if(!run_flag)
					HAL_TIM_Base_Stop_IT(&htim4);
					start_count_flag = 0;
					save_flag = 1;
					g_number++;
					printf("Please Input:READ RECORD or Press K1 to Read Rcord!\r\n");
					printf("Please Input:READ AD DATA or Press K4 to Read ad data!\r\n");

					 flash_data[1200]= max_data_gx;
					 flash_data[1201]= max_data_gy;
					 flash_data[1202]= max_data_gz;

//				else if(run_flag)
//					HAL_TIM_Base_Start_IT(&htim4);

				break;
			default:
				break;
		}
    osDelay(200);
  }
  /* USER CODE END StartTaskKey */
}

void StartTaskSeg(void *argument)
{
  /* USER CODE BEGIN StartTaskSeg */
//		W25QXX_Read((uint8_t *)flash_data,0,sizeof(flash_data));
//		osDelay(100);
//		short i = flash_data[1000];
//		count_min = flash_data[7+10*(i)];
//		count_sec = flash_data[8+10*(i)];
//		count_10ms = flash_data[9+10*(i)];
//		osDelay(1000);
  /* Infinite loop */
  for(;;)
  {

		if(!show_flag)
		{
			seg[0] = count_sec / 10;
			seg[1] = count_sec % 10;
			seg[2] = count_10ms / 10;
			seg[3] = count_10ms % 10;
		}

		if(show_flag)
		{
			seg[0] = count_min / 10;
			seg[1] = count_min % 10;
			seg[2] = count_sec / 10;
			seg[3] = count_sec % 10;
		}

		for(int i=0; i<4; ++i)
		{
			if(i==1)
				Write595(i,seg[i],1);
			else
				Write595(i,seg[i],0);
			osDelay(5);
		}
    osDelay(1);
  }
  /* USER CODE END StartTaskSeg */
}

void StartTaskMain(void *argument)
{
  /* USER CODE BEGIN StartTaskMain */
//	RTC_Year = 2021;
//	RTC_Mon  = 12;
//	RTC_Dat  = 13;
//	RTC_Hour = 19;
//	RTC_Min  = 17;
//	RTC_Sec  = 50;
//
//	SetRTCDate(RTC_Year,RTC_Mon,RTC_Dat);
//	SetRTCTime(RTC_Hour,RTC_Min,RTC_Sec);

	short flash_dat[11] = {0};
	short flash_ad_dat[6] = {0};
	int ax0 = 0,ay0 = 0, az0 = 0;
	int ax1,ay1, az1;
	int j = 0;
	short Ax, Ay, Az;
  /* Infinite loop */
  for(;;)
  {

		if(start_count_flag)
		{
			if(up_flag)
			{
				up_flag = 0;
				count_sec++;
				ReadRTCDateTime();
				if(count_sec == 60)
				{
					count_sec = 0;
					count_min++;
					if(count_min == 60)		count_min = 0;
					else if(count_min == 6)
					{
							HAL_TIM_Base_Stop_IT(&htim4);
							start_count_flag = 0;
							save_flag = 1;
							g_number++;
							printf("超时！！！\r\n");
							osDelay(1000);
							printf("Please Input:READ RECORD or Press K1 to Read Rcord!\r\n");
							printf("Please Input:READ AD DATA or Press K4 to Read ad data!\r\n");
					}
				}
			}
		}

		if(save_flag)
		{
			save_flag = 0;
			flash_data[1000] = g_number;
			for(int i=0;i<10;i++)
			{
				if(i == 0)	flash_data[i+10*(g_number-1)] = (RTC_Year/100);
				if(i == 1)	flash_data[i+10*(g_number-1)] = (RTC_Year%100);
				if(i == 2)	flash_data[i+10*(g_number-1)] = (RTC_Mon);
				if(i == 3)	flash_data[i+10*(g_number-1)] = (RTC_Dat);
				if(i == 4)	flash_data[i+10*(g_number-1)] = (RTC_Hour);
				if(i == 5)	flash_data[i+10*(g_number-1)] = (RTC_Min);
				if(i == 6)	flash_data[i+10*(g_number-1)] = (RTC_Sec);
				if(i == 7)	flash_data[i+10*(g_number-1)] = (count_min);
				if(i == 8)	flash_data[i+10*(g_number-1)] = (count_sec);
				if(i == 9)	flash_data[i+10*(g_number-1)] = (count_10ms);
			}
			osDelay(200);
			W25QXX_Write((uint8_t *)flash_data,0,sizeof(flash_data));
			osDelay(200);
		}

		if(read_flag)
		{
			read_flag = 0;
			printf("reading records...\n\r");
			SendBTStr("reading records...\n");
			osDelay(200);
			W25QXX_Read((uint8_t *)flash_data,0,sizeof(flash_data));
//			flash_data[2] = -10222;
			osDelay(200);

			if(flash_data[1000] == 0)
			{
				printf("no records!\r\n");
			}
			else
			{
				for(int i=0;i<flash_data[1000];i++)
				{

					printf("%d. %d%d年%d月%d日%d时%d分%d秒 : %d分%d秒%d\r\n",i,flash_data[0+10*(i)],flash_data[1+10*(i)],flash_data[2+10*(i)],flash_data[3+10*(i)],flash_data[4+10*(i)],
																															flash_data[5+10*(i)],flash_data[6+10*(i)],flash_data[7+10*(i)],flash_data[8+10*(i)],flash_data[9+10*(i)]);
//					printf("time(100ms):%d  a(mg)%d", time[i], max_data[i]);
					flash_dat[0] = i;
					flash_dat[1] = flash_data[0+10*(i)];	flash_dat[2] = flash_data[1+10*(i)];	flash_dat[3] = flash_data[2+10*(i)];	flash_dat[4] = flash_data[3+10*(i)];	flash_dat[5] = flash_data[4+10*(i)];
					flash_dat[6] = flash_data[5+10*(i)];	flash_dat[7] = flash_data[6+10*(i)];	flash_dat[8] = flash_data[7+10*(i)];	flash_dat[9] = flash_data[8+10*(i)];	flash_dat[10] = flash_data[9+10*(i)];
					osDelay(100);
					Trans_Records2BT(flash_dat);

				}
				count_min = flash_data[7+10*(flash_data[1000]-1)];
				count_sec = flash_data[8+10*(flash_data[1000]-1)];
				count_10ms = flash_data[9+10*(flash_data[1000]-1)];
				osDelay(100);
				printf("reading records ends!\r\n");
				osDelay(100);
				SendBTStr("reading records ends!\n");
			}

		}

		if(read_ad_flag)
		{
			read_ad_flag = 0;

			uint8_t c_ms = 0;
			uint8_t c_sec = 0;
			uint8_t c_min = 0;

			printf("reading ad data...\r\n");
			SendBTStr("reading ad data...\n");
			osDelay(200);
			W25QXX_Read((uint8_t *)flash_data,0,sizeof(flash_data));
			osDelay(200);

			if(flash_data[1001] == 0)
			{
				printf("no data!\r\n");
			}
			else
			{
				for(int i=1;i<flash_data[1001];i++)
				{
					if(c_ms == 20)
					{
						c_ms = 0;
						c_sec++;
					}
					if(c_sec == 60)
					{
						c_sec = 0;
						c_min++;
					}

					ax = flash_data[1002 + 6*(i)]; ay = flash_data[1003 + 6*(i)]; az = flash_data[1004 + 6*(i)]; gx = flash_data[1005 + 6*(i)]; gy = flash_data[1006 + 6*(i)]; gz = flash_data[1007 + 6*(i)];
					ax1 = ax;ay1 = ay;az1 = az;
					Ax = (ax1 - ax0) / 3.7;Ay = (ay1 - ay0) / 3.7;Az = (az1 - az0) / 3.7;
					ax0 = ax1;ay0 = ay1;az0 = az1;

					if(ad_rec_flag == 0)
						printf("%d分%d秒%d: axyz%6d,%6d,%6d,gxyz%6d,%6d,%6d\r\n",c_min,c_sec,c_ms*5,Ax,Ay,Az,gx,gy,gz);

					else if(ad_rec_flag == 1)
						//配合上位机接收格式
						printf("A%dBC%dDE%dFG%dHI%dJK%dL\r\n",Ax,Ay,Az,gx,gy,gz);

					osDelay(50);//延时30ms

					flash_ad_dat[0] = Ax; flash_ad_dat[1] = Ay; flash_ad_dat[2] = Az; flash_ad_dat[3] = gx; flash_ad_dat[4] = gy; flash_ad_dat[5] = gz;
					Trans_adDATA2BT(flash_ad_dat);

					c_ms++;
				}
				printf("共采集%d次！\r\n",flash_data[1001]);
				printf("reading ad data ends!\r\n");
				osDelay(20);
				SendBTStr("reading ad data ends!\n");
//				printf("read ends\r\n");
			}
			ad_rec_flag = 0;
		}

    osDelay(1);
  }
  /* USER CODE END StartTaskMain */
}

void StartTaskMPU6050(void *argument)
{
  /* USER CODE BEGIN StartTaskMPU6050 */
  /* Infinite loop */

	int cnt=0,mpuok;

	short Ax, Ay, Az;
	int ax0 = 0,ay0 = 0, az0 = 0;
	int ax1,ay1, az1;

	mpuok=MPU_init();
	while(!mpuok && cnt<3)
	{
		osDelay(500);
		mpuok=MPU_init();
		++cnt;
	}
	if(mpuok)
	{
		printf("\r\n 六轴传感器初始化成功！ \r\n");
		HAL_Delay(1000);
		printf("Please Input:READ RECORD or Press K1 to Read Rcord!\r\n");
		printf("Please Input:READ AD DATA or Press K4 to Read ad data!\r\n");
		printf("Please Input:CLEAR ALL DATA to Clear all data!\r\n");
	}
	else
	{
		printf("\r\n 六轴传感器初始化失败！请重新启动程序！！ \r\n");
	}
  for(;;)
  {
		if(mpuok && start_count_flag)
		{
			ad_number++;
			MPU_getdata();//读取传感器数据

			ax1 = ax;ay1 = ay;az1 = az;
			Ax = (ax1 - ax0) / 3.7;Ay = (ay1 - ay0) / 3.7;Az = (az1 - az0) / 3.7;
			ax0 = ax1;ay0 = ay1;az0 = az1;
//			printf("A%dBC%dDE%dFG%dHI%dJK%dL\r\n",Ax,Ay,Az,gx,gy,gz);

			ad_data[0] = ax;	ad_data[1] = ay;	ad_data[2] = az;	ad_data[3] = gx;	ad_data[4] = gy;	ad_data[5] = gz;

			//取最大值
			if(max_data_gx<=gx)
			{
				max_data_gx=gx;
			}

			if(max_data_gy<=gy)
			{
				max_data_gy=gy;
			}

			if(max_data_gz<=gz)
			{
				max_data_gz=gz;
			}

			osDelay(44);
			flash_data[1001] = ad_number;   //存储共采集多少次
			for(int n=0;n<6;n++)
			{
				flash_data[1002 + n + 6*(ad_number-1)] = ad_data[n];
			}
		}

    osDelay(1);

//	int cnt=0,mpuok;
//	mpuok=MPU_init();
//	while(!mpuok && cnt<3)
//	{
//		osDelay(500);
//		mpuok=MPU_init();
//		++cnt;
//	}
//	if(mpuok)
//	{
//		printf("\r\n 六轴传感器初始化成功！ \r\n");
//		HAL_Delay(1000);
//		printf("Please Input:READ RECORD or Press K1 to Read Rcord!\r\n");
//		printf("Please Input:READ AD DATA or Press K4 to Read ad data!\r\n");
//		printf("Please Input:CLEAR ALL DATA to Clear all data!\r\n");
//	}
//	else
//	{
//		printf("\r\n 六轴传感器初始化失败！请重新启动程序！！ \r\n");
//	}
//  for(;;)
//  {
//		if(mpuok && start_count_flag)
//		{
//			ad_number++;
//			MPU_getdata();//读取传感器数据
////			printf("A%dBC%dDE%dFG%dHI%dJK%dL\r\n",ax,ay,az,gx,gy,gz);

//			ad_data[0] = ax;
//			ad_data[1] = ay;
//			ad_data[2] = az;
//			ad_data[3] = gx;
//			ad_data[4] = gy;
//			ad_data[5] = gz;
//
//			osDelay(46);
//			flash_data[1001] = ad_number;   //存储共采集多少次
//			for(int n=0;n<6;n++)
//			{
//				flash_data[1002 + n + 6*(ad_number-1)] = ad_data[n];
//			}
//		}
//
//    osDelay(1);
  }
  /* USER CODE END StartTaskMPU6050 */
}

/* USER CODE BEGIN Application */

void HAL_UART_TxHalfCpltCallback(UART_HandleTypeDef *huart) {
	huart->gState = HAL_UART_STATE_READY;  // 复位串口状态
}

void HAL_UARTEx_RxEventCallback(UART_HandleTypeDef *huart, uint16_t Size){
	if (huart == &huart1) { // 串口1接收数据处理
	  HAL_UART_DMAStop(huart);  // 停止DMA请求
	  rx1_buf[Size] = '\0';      // 末尾加字符串结束符
	  osMessageQueuePut(QueueUart1Handle, rx1_buf, NULL, 0);  // 发送消息到队列1
	  // 重启串口1的DMA接收
	  __HAL_UNLOCK(huart);
	  HAL_UARTEx_ReceiveToIdle_DMA(&huart1, rx1_buf, sizeof(rx1_buf));
	}
	if (huart == &huart2) { // 串口2接收数据处理
	 HAL_UART_DMAStop(huart);  // 停止DMA请求
	 rx2_buf[Size] = '\0';      // 末尾加字符串结束符
	 osMessageQueuePut(QueueUart2Handle, rx2_buf, NULL, 0); // 发送消息到队列2
	 // 重启串口2的DMA接收
	 __HAL_UNLOCK(huart);
	 HAL_UARTEx_ReceiveToIdle_DMA(&huart2, rx2_buf, sizeof(rx2_buf));
	}
}

//void HAL_UART_RxCpltCallback(UART_HandleTypeDef *UartHandle)
//{
//	if(UartHandle->Instance == USART1)
//	{
//		++ pBuf;
//		if(pBuf == rx1_buff + MAX_RECV_LEN)
//			pBuf = rx1_buff;
//
//		else if(*(pBuf - 1) == '\n')
//		{
//			line_flag = 1;
//			*pBuf = '\0';
//			pBuf = rx1_buff;
//		}
//
//		__HAL_UNLOCK(UartHandle);
//		HAL_UART_Receive_IT(UartHandle, pBuf, 1);
//	}
//}
/* USER CODE END Application */
